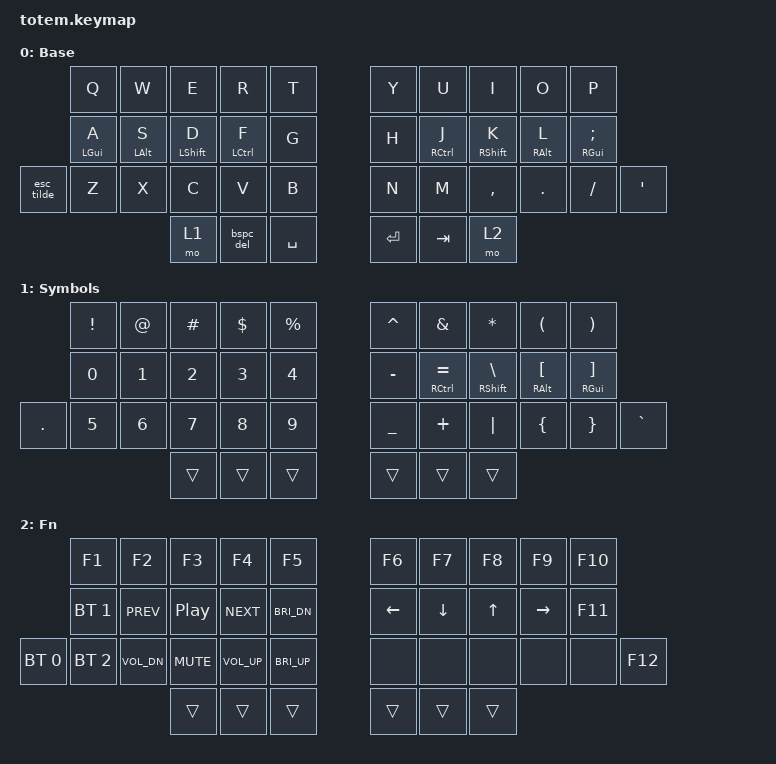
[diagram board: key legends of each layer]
#include <behaviors.dtsi>
#include <dt-bindings/zmk/keys.h>
#include <dt-bindings/zmk/bt.h>

/ {
    behaviors {
        // Left-hand mods: only hold when a RIGHT-hand key is pressed
        hml: home_row_mod_left {
            compatible = "zmk,behavior-hold-tap";
            label = "HRM_LEFT";
            #binding-cells = <2>;
            flavor = "tap-preferred";
            tapping-term-ms = <250>;
            quick-tap-ms = <175>;
            require-prior-idle-ms = <120>;   // flow tap
            hold-trigger-key-positions = <5 6 7 8 9 15 16 17 18 19 26 27 28 29 30 31 35 36 37>;
            hold-trigger-on-release;
            hold-while-undecided;            // speculative hold
            bindings = <&kp>, <&kp>;
        };

        // Right-hand mods: only hold when a LEFT-hand key is pressed
        hmr: home_row_mod_right {
            compatible = "zmk,behavior-hold-tap";
            label = "HRM_RIGHT";
            #binding-cells = <2>;
            flavor = "tap-preferred";
            tapping-term-ms = <250>;
            quick-tap-ms = <175>;
            require-prior-idle-ms = <120>;   // flow tap
            hold-trigger-key-positions = <0 1 2 3 4 10 11 12 13 14 20 21 22 23 24 25 32 33 34>;
            hold-trigger-on-release;
            hold-while-undecided;            // speculative hold
            bindings = <&kp>, <&kp>;
        };

        esc_tilde: esc_tilde {
            compatible = "zmk,behavior-mod-morph";
            #binding-cells = <0>;
            bindings = <&kp ESC>, <&kp GRAVE>;
            mods = <(MOD_LSFT|MOD_RSFT)>;
            keep-mods = <(MOD_LSFT|MOD_RSFT)>;
        };

        bspc_del: backspace_delete {
            compatible = "zmk,behavior-mod-morph";
            #binding-cells = <0>;
            bindings = <&kp BACKSPACE>, <&kp DELETE>;
            mods = <(MOD_LSFT|MOD_RSFT)>;
        };
    };

    keymap {
        compatible = "zmk,keymap";

        Base {
            label = "Base";
            bindings = <
                        &kp Q        &kp W        &kp E         &kp R         &kp T                         &kp Y        &kp U         &kp I         &kp O        &kp P
                        &hml LGUI A  &hml LALT S  &hml LSHFT D  &hml LCTRL F  &kp G                         &kp H        &hmr RCTRL J  &hmr RSHFT K  &hmr RALT L  &hmr RGUI SEMI
            &esc_tilde      &kp Z        &kp X        &kp C         &kp V         &kp B                         &kp N        &kp M         &kp COMMA     &kp DOT      &kp SLASH     &kp SQT
                                                    &mo 1         &bspc_del      &kp SPACE                     &kp ENTER    &kp TAB       &mo 2
            >;
        };

        Symbols {
            label = "Symbols";
            bindings = <
                        &kp EXCL     &kp AT       &kp HASH      &kp DLLR      &kp PRCNT                     &kp CARET    &kp AMPS      &kp STAR      &kp LPAR     &kp RPAR
                        &kp N0       &kp N1       &kp N2        &kp N3        &kp N4                        &kp MINUS    &hmr RCTRL EQUAL &hmr RSHFT BSLH &hmr RALT LBKT &hmr RGUI RBKT
            &kp DOT     &kp N5       &kp N6       &kp N7        &kp N8        &kp N9                        &kp UNDER    &kp PLUS      &kp PIPE      &kp LBRC     &kp RBRC      &kp GRAVE
                                                    &trans        &trans        &trans                        &trans       &trans        &trans
            >;
        };

        Fn {
            label = "Fn";
            bindings = <
                        &kp F1       &kp F2       &kp F3        &kp F4        &kp F5                        &kp F6       &kp F7        &kp F8        &kp F9       &kp F10
                        &bt BT_SEL 1 &kp C_PREV   &kp C_PP      &kp C_NEXT    &kp C_BRI_DN                  &kp LEFT     &kp DOWN      &kp UP        &kp RIGHT    &kp F11
            &bt BT_SEL 0 &bt BT_SEL 2 &kp C_VOL_DN &kp C_MUTE   &kp C_VOL_UP  &kp C_BRI_UP                  &none        &none         &none         &none        &none         &kp F12
                                                    &trans        &trans        &trans                        &trans       &trans        &trans
            >;
        };
    };
};
